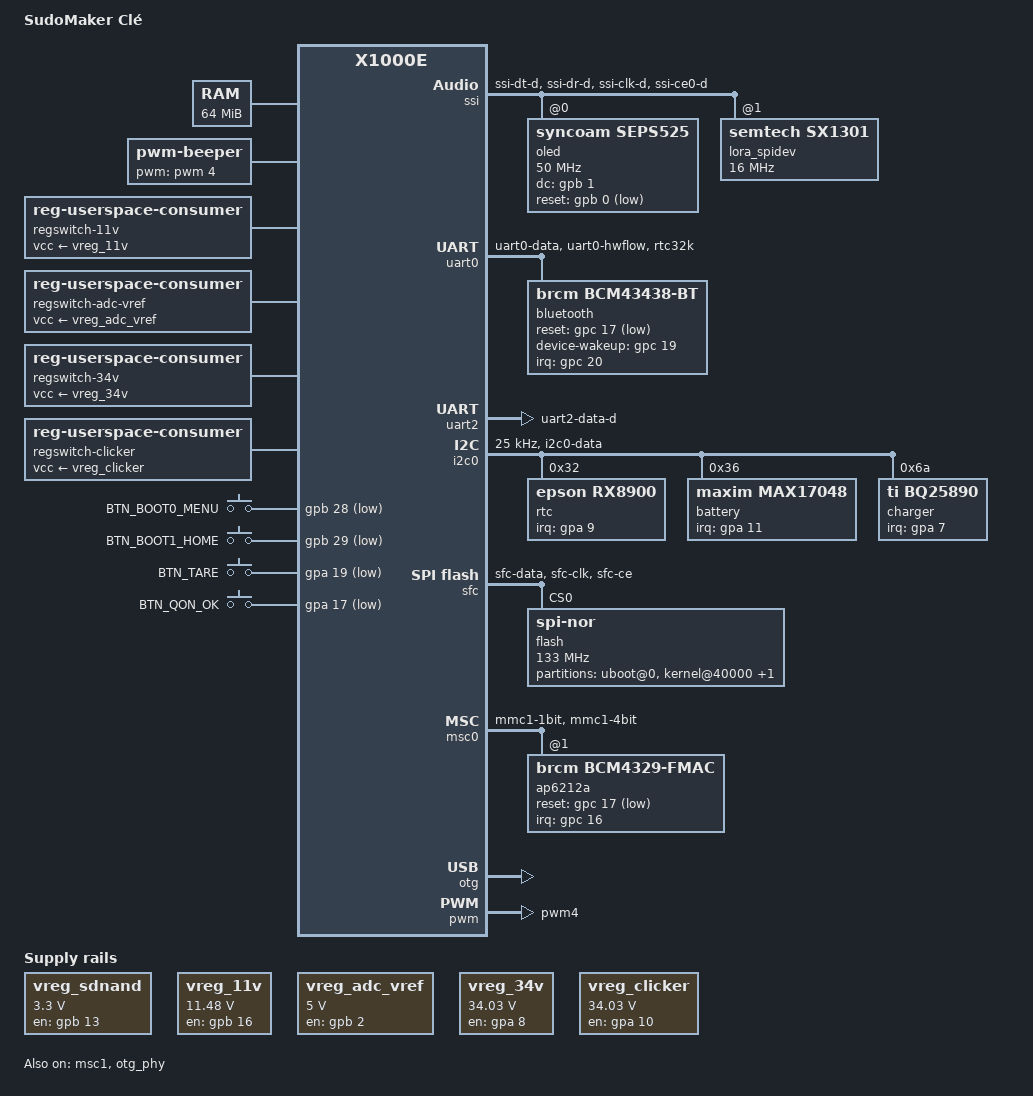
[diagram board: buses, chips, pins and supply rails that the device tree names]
/dts-v1/;

#include "x1000.dtsi"
#include <dt-bindings/gpio/gpio.h>
#include <dt-bindings/input/input.h>
#include <dt-bindings/clock/ingenic,sysost.h>
#include <dt-bindings/interrupt-controller/irq.h>

/ {
	compatible = "sudomaker,cle", "ingenic,x1000e";
	model = "SudoMaker Clé";

	aliases {
		serial2 = &uart2;
	};

	chosen {
		stdout-path = "serial2:115200n8";
	};

	memory {
		device_type = "memory";
		reg = <0x0 0x04000000>;
	};

	beeper {
		compatible = "pwm-beeper";
		pwms = <&pwm 4 50000 0>;
	};

	vreg_sdnand: regulator-sdnand {
		compatible = "regulator-fixed";

		regulator-name = "vreg_sdnand";
		regulator-min-microvolt = <3300000>;
		regulator-max-microvolt = <3300000>;

		gpio = <&gpb 13 GPIO_ACTIVE_LOW>;
		enable-active-high;
		regulator-always-on;
	};

	vreg_11v: regulator-11v {
		compatible = "regulator-fixed";

		regulator-name = "vreg_11v";
		regulator-min-microvolt = <11480000>;
		regulator-max-microvolt = <11480000>;

		gpio = <&gpb 16 GPIO_ACTIVE_LOW>;
		enable-active-high;
	};

	regswitch-11v {
		compatible = "reg-userspace-consumer";
		regulator-name = "vreg_11v";
		regulator-supplies = "vcc";
		vcc-supply = <&vreg_11v>;
		regulator-boot-on;
		comment = "11V boost switch (OLED and ADC)";
	};

	vreg_adc_vref: regulator-adc-vref {
		compatible = "regulator-fixed";

		regulator-name = "vreg_adc_vref";
		regulator-min-microvolt = <5000000>;
		regulator-max-microvolt = <5000000>;

		gpio = <&gpb 2 GPIO_ACTIVE_LOW>;
		enable-active-high;
	};

	regswitch-adc-vref {
		compatible = "reg-userspace-consumer";
		regulator-name = "vreg_adc_vref";
		regulator-supplies = "vcc";
		vcc-supply = <&vreg_adc_vref>;
		regulator-boot-on;
		comment = "ADC VREF";
	};

	vreg_34v: regulator-34v {
		compatible = "regulator-fixed";

		regulator-name = "vreg_34v";
		regulator-min-microvolt = <34030000>;
		regulator-max-microvolt = <34030000>;

		gpio = <&gpa 8 GPIO_ACTIVE_LOW>;
		enable-active-high;
	};

	regswitch-34v {
		compatible = "reg-userspace-consumer";
		regulator-name = "vreg_34v";
		regulator-supplies = "vcc";
		vcc-supply = <&vreg_34v>;
		comment = "34V boost switch";
	};

	vreg_clicker: regulator-clicker {
		compatible = "regulator-fixed";

		regulator-name = "vreg_clicker";
		regulator-min-microvolt = <34030000>;
		regulator-max-microvolt = <34030000>;

		gpio = <&gpa 10 GPIO_ACTIVE_LOW>;
		enable-active-high;
	};

	regswitch-clicker {
		compatible = "reg-userspace-consumer";
		regulator-name = "vreg_clicker";
		regulator-supplies = "vcc";
		vcc-supply = <&vreg_clicker>;
		comment = "Clicker switch";
	};

	gpio_keys {
		compatible = "gpio-keys";

		btn_0 {
			wakeup-source;
			label = "BTN_BOOT0_MENU";
			linux,code = <KEY_F1>;
			gpios = <&gpb 28 GPIO_ACTIVE_LOW>;
		};

		btn_1 {
			wakeup-source;
			label = "BTN_BOOT1_HOME";
			linux,code = <KEY_F2>;
			gpios = <&gpb 29 GPIO_ACTIVE_LOW>;
		};

		btn_2 {
			wakeup-source;
			label = "BTN_TARE";
			linux,code = <KEY_F3>;
			gpios = <&gpa 19 GPIO_ACTIVE_LOW>;
		};

		btn_3 {
			wakeup-source;
			label = "BTN_QON_OK";
			linux,code = <KEY_F4>;
			gpios = <&gpa 17 GPIO_ACTIVE_LOW>;
		};


	};

};

&exclk {
	clock-frequency = <24000000>;
};

&cgu {
	assigned-clocks = <&cgu X1000_CLK_SSIMUX>, <&cgu X1000_CLK_RTC>;
	assigned-clock-parents = <&cgu X1000_CLK_SSIPLL_DIV2>, <&cgu X1000_CLK_EXCLK_DIV512>;
};

&ost {
	/* 1500 kHz for the system timer and clocksource */
	assigned-clocks = <&ost OST_CLK_EVENT_TIMER>, <&ost OST_CLK_GLOBAL_TIMER>;
	assigned-clock-rates = <1500000>, <1500000>;
};

&ssi {
	status = "okay";

	pinctrl-names = "default";
	pinctrl-0 = <&pins_spi0>;

	num-cs = <2>;
	cs-gpios = <0>, <&gpb 18 GPIO_ACTIVE_LOW>;

	oled@0 {
		compatible = "syncoam,seps525";
		reg = <0>;
		spi-max-frequency = <50000000>;
		rotate = <0>;
		txbuflen = <16256>;
		buswidth = <8>;
		fps = <50>;
		dc-gpios = <&gpb 1 0>;
		reset-gpios = <&gpb 0 GPIO_ACTIVE_LOW>;
		debug = <0x4000000>;
	};

	lora_spidev@1 {
		reg = <1>;
		compatible = "semtech,sx1301";

		spi-max-frequency = <16000000>;
	};

};

&uart0 {
		status = "okay";

		pinctrl-names = "default";
		pinctrl-0 = <&pins_uart0>, <&pins_rtc32k>;

		uart-has-rtscts;

		bluetooth {
				compatible = "brcm,bcm43438-bt";
				max-speed = <1000000>;
				brcm,bt-pcm-int-params = [01 02 00 01 01];
				reset-gpios = <&gpc 17 GPIO_ACTIVE_LOW>;
				device-wakeup-gpios = <&gpc 19 GPIO_ACTIVE_HIGH>;
				interrupt-parent = <&gpc>;
				interrupts = <20 IRQ_TYPE_EDGE_FALLING>;
		};
};

&uart2 {
	status = "okay";

	pinctrl-names = "default";
	pinctrl-0 = <&pins_uart2>;
};

&i2c0 {
	status = "okay";

	clock-frequency = <25000>;

	pinctrl-names = "default";
	pinctrl-0 = <&pins_i2c0>;

	rtc@32 {
		compatible = "epson,rx8900";
		reg = <0x32>;

		interrupt-parent = <&gpa>;
		interrupts = <9 IRQ_TYPE_EDGE_FALLING>;
		wakeup-source;

		epson,vdet-disable;
		trickle-diode-disable;
	};

	battery@36 {
		compatible = "maxim,max17048";
		reg = <0x36>;

		interrupt-parent = <&gpa>;
		interrupts = <11 IRQ_TYPE_EDGE_FALLING>;
		wakeup-source;

		maxim,alert-low-soc-level = <10>;
	};

	charger@6a {
		compatible = "ti,bq25890";
		reg = <0x6a>;

		interrupt-parent = <&gpa>;
		interrupts = <7 IRQ_TYPE_EDGE_FALLING>;
		wakeup-source;

		ti,battery-regulation-voltage = <4200000>;
		ti,charge-current = <500000>;
		ti,termination-current = <25000>;
		ti,precharge-current = <50000>;
		ti,minimum-sys-voltage = <3600000>;
		ti,boost-voltage = <5100000>;
		ti,boost-max-current = <2400000>;
		ti,thermal-regulation-threshold = <120>;
	};
};


&sfc {
	status = "okay";

	#address-cells = <1>;
	#size-cells = <0>;


	pinctrl-names = "default";
	pinctrl-0 = <&pins_sfc>;

	flash: spinor@0 {
		compatible = "jedec,spi-nor";
		spi-max-frequency = <133000000>;
		reg = <0>;

		spi-rx-bus-width = <4>;
		spi-tx-bus-width = <4>;

		partitions {
			compatible = "fixed-partitions";
			#address-cells = <1>;
			#size-cells = <1>;

			uboot@0 {
				reg = <0x0 0x40000>;
			};

			kernel@40000 {
				reg = <0x40000 0x300000>;
			};

			rootfs@840000 {
				reg = <0x340000 0x10000000>;
			};
		};
	};

};

&msc1 {
	status = "okay";

	bus-width = <4>;
	max-frequency = <25000000>;

	//mmc-pwrseq = <&sdnand_pwrseq>;

	pinctrl-names = "default";
	pinctrl-0 = <&pins_msc0>;

	non-removable;
};

&msc0 {
		status = "okay";

		#address-cells = <1>;
		#size-cells = <0>;
		bus-width = <4>;
		max-frequency = <25000000>;

		pinctrl-names = "default";
		pinctrl-0 = <&pins_msc1>;

		non-removable;
		cap-power-off-card;
		keep-power-in-suspend;
		wakeup-source;

		//mmc-pwrseq = <&wlan_pwrseq>;

		ap6212a: wifi@1 {
				compatible = "brcm,bcm4329-fmac";
				reg = <1>;

				interrupt-parent = <&gpc>;
				interrupts = <16 IRQ_TYPE_EDGE_FALLING>;
				interrupt-names = "host-wake";
				wakeup-source;

				reset-gpios = <&gpc 17 GPIO_ACTIVE_LOW>;

				brcm,drive-strength = <10>;
		};
};

&otg_phy {
	status = "okay";
};

&otg {
	status = "okay";
};

&pwm {
	status = "okay";

	pinctrl-names = "default";
	pinctrl-0 = <&pins_pwm4>;
};

&pinctrl {

	pins_rtc32k: rtc32k {
		function = "rtc32k";
		groups = "rtc32k";
	};

	pins_pwm4: pwm4 {
		function = "pwm4";
		groups = "pwm4";
	};

	pins_sfc: sfc {
		function = "sfc";
		groups = "sfc-data", "sfc-clk", "sfc-ce";
	};

	pins_spi0: spi0 {
			function = "ssi";
			groups = "ssi-dt-d", "ssi-dr-d", "ssi-clk-d", "ssi-ce0-d";
	};

	pins_uart0: uart0 {
		function = "uart0";
		groups = "uart0-data", "uart0-hwflow";
	};

	pins_uart2: uart2 {
		function = "uart2";
		groups = "uart2-data-d";
	};

	pins_i2c0: i2c0 {
		function = "i2c0";
		groups = "i2c0-data";
		bias-disable;
	};

	pins_msc0: msc0 {
		function = "mmc0";
		groups = "mmc0-1bit", "mmc0-4bit";
	};

	pins_msc1: msc1 {
		function = "mmc1";
		groups = "mmc1-1bit", "mmc1-4bit";
	};

};
